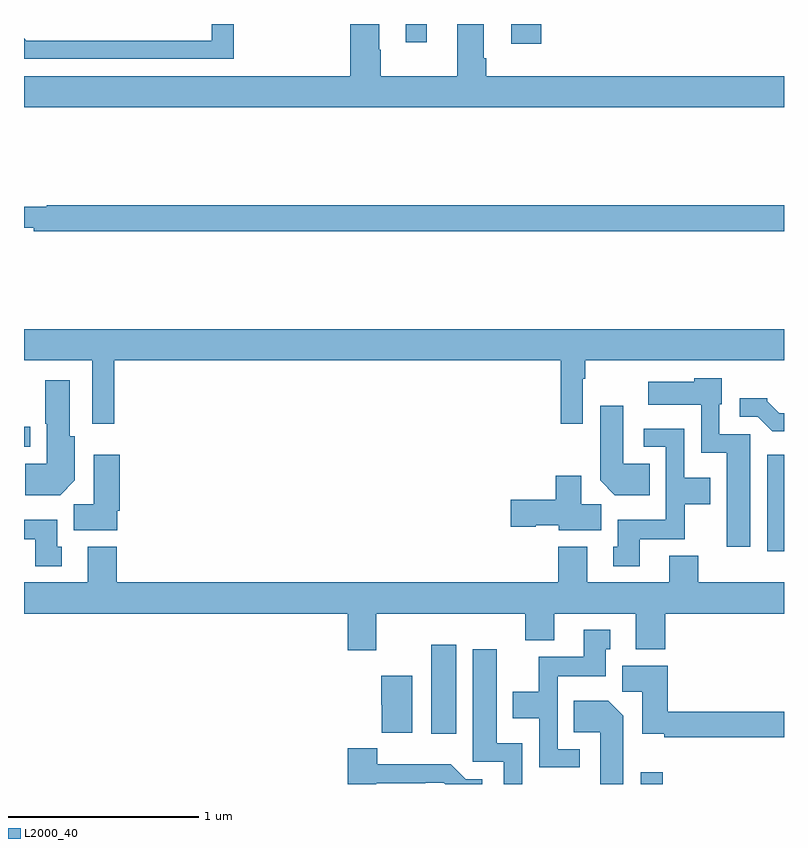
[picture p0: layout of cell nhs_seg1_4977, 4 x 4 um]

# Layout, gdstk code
import gdstk
lib = gdstk.Library(unit=1e-6, precision=1e-09)
def R(c, l, rs):  # rectangles x0, y0, x1, y1
    for r in rs: c.add(gdstk.rectangle(r[:2], r[2:], *l))
def P(c, l, *ps):  # polygons
    for p in ps: c.add(gdstk.Polygon(p, *l))
L2000_40 = (2000, 40)

nhs_seg1_4977 = lib.new_cell('nhs_seg1_4977')
R(nhs_seg1_4977, L2000_40, [(384.246,520.199,384.362,520.261), (383.144,520.464,383.275,520.933), (384.911,521.424,385,521.932), (381,521.973,381.034,522.079), (383.564,524.094,383.723,524.199), (383.009,524.103,383.119,524.199)])
P(nhs_seg1_4977, L2000_40, [(385,523.924),(383.432,523.924),(383.432,524.02),(383.419,524.02),(383.419,524.199),(383.279,524.199),(383.279,523.924),(382.878,523.924),(382.878,524.063),(382.87,524.063),(382.87,524.199),(382.718,524.199),(382.718,523.924),(381,523.924),(381,523.76),(385,523.76)],
  [(382.103,524.199),(381.987,524.199),(381.987,524.112),(381.012,524.112),(381,524.124),(381,524.016),(382.103,524.016)],
  [(385,523.244),(381.119,523.244),(381.119,523.237),(381,523.237),(381,523.127),(381.052,523.127),(381.052,523.108),(385,523.108)],
  [(381.476,522.428),(383.824,522.428),(383.824,522.096),(383.94,522.096),(383.94,522.332),(383.953,522.332),(383.953,522.428),(385,522.428),(385,522.592),(381,522.592),(381,522.428),(381.36,522.428),(381.36,522.096),(381.476,522.096)],
  [(384.823,522.039),(384.66,522.039),(384.66,522.198),(384.673,522.198),(384.673,522.334),(384.528,522.334),(384.528,522.316),(384.285,522.316),(384.285,522.194),(384.564,522.194),(384.564,521.942),(384.698,521.942),(384.698,521.448),(384.823,521.448)],
  [(381.268,521.798),(381.268,522.03),(381.241,522.03),(381.241,522.325),(381.113,522.325),(381.113,522.096),(381.119,522.096),(381.119,521.884),(381.007,521.884),(381.007,521.72),(381.19,521.72)],
  [(385,522.15),(384.976,522.15),(384.912,522.214),(384.912,522.229),(384.768,522.229),(384.768,522.132),(384.861,522.132),(384.937,522.056),(385,522.056)],
  [(384.293,521.884),(384.154,521.884),(384.154,522.19),(384.032,522.19),(384.032,521.798),(384.11,521.72),(384.293,521.72)],
  [(384.241,521.486),(384.477,521.486),(384.477,521.672),(384.613,521.672),(384.613,521.812),(384.474,521.812),(384.474,522.069),(384.261,522.069),(384.261,521.973),(384.378,521.973),(384.378,521.59),(384.125,521.59),(384.125,521.448),(384.101,521.448),(384.101,521.346),(384.241,521.346)],
  [(381.49,521.638),(381.503,521.638),(381.503,521.932),(381.368,521.932),(381.368,521.672),(381.263,521.672),(381.263,521.534),(381.49,521.534)],
  [(384.037,521.672),(383.932,521.672),(383.932,521.821),(383.798,521.821),(383.798,521.696),(383.562,521.696),(383.562,521.554),(383.694,521.554),(383.694,521.561),(383.814,521.561),(383.814,521.534),(384.037,521.534)],
  [(381.199,521.448),(381.175,521.448),(381.175,521.59),(381,521.59),(381,521.486),(381.059,521.486),(381.059,521.346),(381.199,521.346)],
  [(382.855,521.096),(383.639,521.096),(383.639,520.955),(383.791,520.955),(383.791,521.096),(384.221,521.096),(384.221,520.907),(384.374,520.907),(384.374,521.096),(385,521.096),(385,521.26),(384.548,521.26),(384.548,521.401),(384.395,521.401),(384.395,521.26),(383.965,521.26),(383.965,521.449),(383.813,521.449),(383.813,521.26),(381.488,521.26),(381.488,521.449),(381.335,521.449),(381.335,521.26),(381,521.26),(381,521.096),(382.703,521.096),(382.703,520.902),(382.855,520.902)],
  [(383.926,520.383),(383.808,520.383),(383.808,520.766),(384.061,520.766),(384.061,520.908),(384.085,520.908),(384.085,521.011),(383.945,521.011),(383.945,520.87),(383.71,520.87),(383.71,520.684),(383.573,520.684),(383.573,520.544),(383.712,520.544),(383.712,520.287),(383.926,520.287)],
  [(383.622,520.414),(383.488,520.414),(383.488,520.909),(383.363,520.909),(383.363,520.317),(383.526,520.317),(383.526,520.199),(383.622,520.199)],
  [(385,520.58),(384.389,520.58),(384.389,520.822),(384.149,520.822),(384.149,520.684),(384.254,520.684),(384.254,520.463),(384.37,520.463),(384.37,520.444),(385,520.444)],
  [(383.044,520.77),(382.88,520.77),(382.88,520.617),(382.882,520.617),(382.882,520.469),(383.044,520.469)],
  [(384.154,520.558),(384.076,520.636),(383.893,520.636),(383.893,520.472),(384.032,520.472),(384.032,520.199),(384.154,520.199)],
  [(382.855,520.203),(383.111,520.203),(383.111,520.206),(383.21,520.206),(383.217,520.199),(383.413,520.199),(383.413,520.224),(383.325,520.224),(383.247,520.303),(382.858,520.303),(382.858,520.387),(382.703,520.387),(382.703,520.199),(382.855,520.199)])

lib.write_gds('nhs_seg1_4977.gds')
